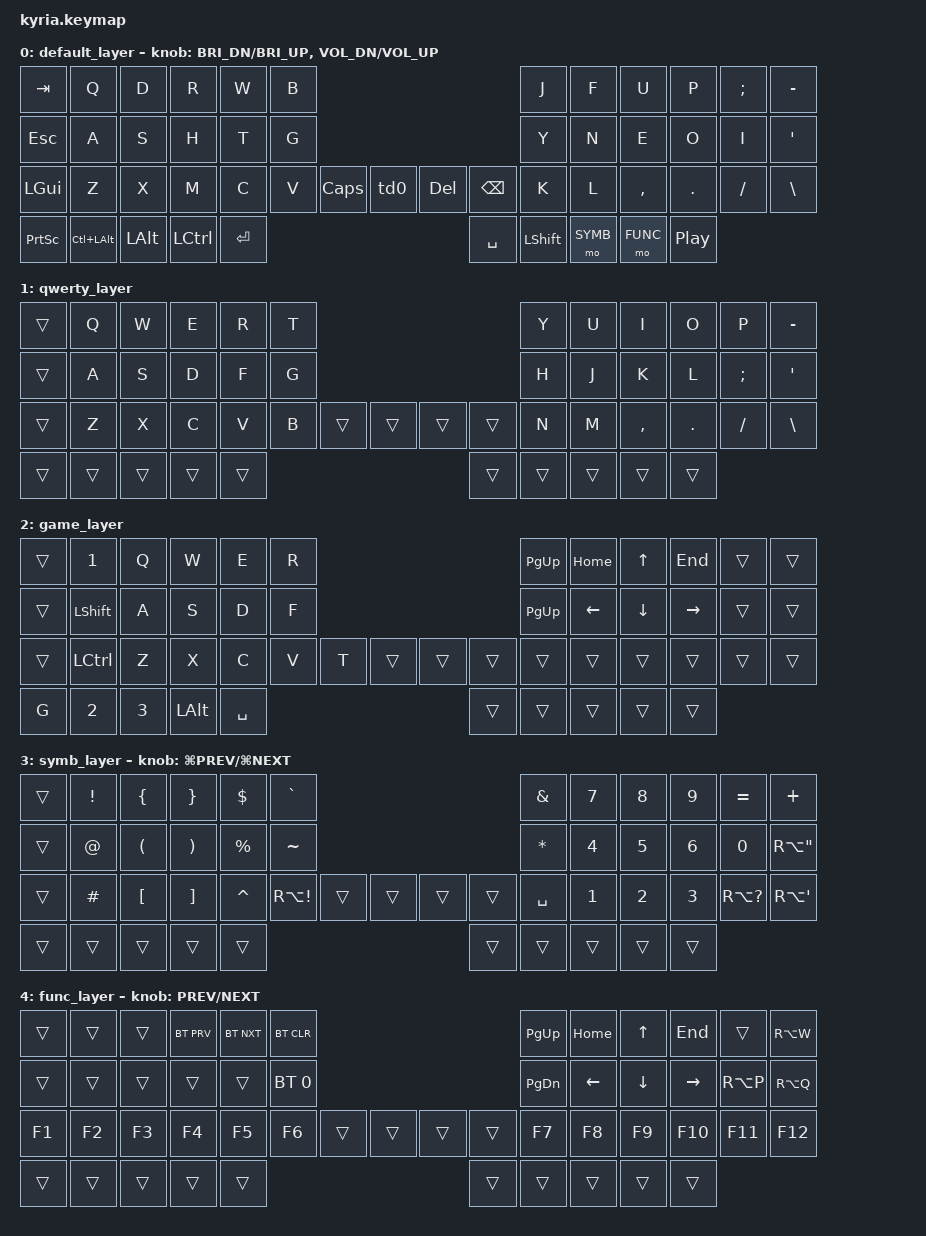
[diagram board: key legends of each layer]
/*
 * Copyright (c) 2020 The ZMK Contributors
 *
 * SPDX-License-Identifier: MIT
 */

#include <behaviors.dtsi>
#include <dt-bindings/zmk/keys.h>
#include <dt-bindings/zmk/bt.h>

#define WORKGIRL 0
#define QWERTY 1
#define GAME 2
#define SYMB 3
#define FUNC 4

&left_encoder { resolution = <2>; };
&right_encoder { resolution = <2>; };

/ {
    behaviors {
        td0: td0 {
            compatible = "zmk,behavior-tap-dance";
            label = "TAP_DANCE_0";
            #binding-cells = <0>;
            tapping-term-ms = <350>;
            bindings = <&to WORKGIRL>, <&to QWERTY>, <&to GAME>;
        };
    };

    keymap {
        compatible = "zmk,keymap";

        default_layer {
            bindings = <
&kp TAB  &kp Q &kp D &kp R &kp W &kp B                                       &kp J &kp F  &kp U     &kp P   &kp SEMI &kp MINUS
&kp ESC  &kp A &kp S &kp H &kp T &kp G                                       &kp Y &kp N  &kp E     &kp O   &kp I    &kp SQT
&kp LGUI &kp Z &kp X &kp M &kp C &kp V &kp CAPS &td0        &kp DEL &kp BSPC &kp K &kp L  &kp COMMA &kp DOT &kp FSLH &kp BSLH
   &kp PSCRN &kp LC(LALT) &kp LALT &kp LCTRL &kp RET        &kp SPACE &kp LSHFT &mo SYMB &mo FUNC &kp C_PLAY_PAUSE
            >;

            sensor-bindings = <&inc_dec_kp C_BRI_DN C_BRI_UP &inc_dec_kp C_VOL_DN C_VOL_UP>;
        };

        qwerty_layer {
            bindings = <
&trans &kp Q &kp W &kp E &kp R &kp T                                    &kp Y &kp U &kp I     &kp O   &kp P    &kp MINUS
&trans &kp A &kp S &kp D &kp F &kp G                                    &kp H &kp J &kp K     &kp L   &kp SEMI &kp SQT
&trans &kp Z &kp X &kp C &kp V &kp B &trans &trans        &trans &trans &kp N &kp M &kp COMMA &kp DOT &kp FSLH &kp BSLH
                &trans &trans &trans &trans &trans        &trans &trans &trans &trans &trans
            >;
        };

        game_layer {
            bindings = <
&trans &kp N1    &kp Q &kp W &kp E &kp R                                   &kp PG_UP &kp HOME &kp UP   &kp END   &trans &trans
&trans &kp LSHFT &kp A &kp S &kp D &kp F                                   &kp PG_UP &kp LEFT &kp DOWN &kp RIGHT &trans &trans
&trans &kp LCTRL &kp Z &kp X &kp C &kp V &kp T &trans        &trans &trans &trans &trans &trans &trans &trans &trans
               &kp G &kp N2 &kp N3 &kp LALT &kp SPACE        &trans &trans &trans &trans &trans
            >;
        };

        symb_layer {
            bindings = <
&trans &kp EXCL &kp LBRC &kp RBRC &kp DLLR  &kp GRAVE                                       &kp AMPS  &kp N7 &kp N8 &kp N9 &kp EQUAL     &kp PLUS
&trans &kp AT   &kp LPAR &kp RPAR &kp PRCNT &kp TILDE                                       &kp ASTRK &kp N4 &kp N5 &kp N6 &kp N0        &kp RA(DQT)
&trans &kp HASH &kp LBKT &kp RBKT &kp CARET &kp RA(EXCL) &trans &trans        &trans &trans &kp SPACE &kp N1 &kp N2 &kp N3 &kp RA(QMARK) &kp RA(SQT)
                                    &trans &trans &trans &trans &trans        &trans &trans &trans &trans &trans
            >;

            sensor-bindings = <&inc_dec_kp LG(C_PREV) LG(C_NEXT)>;
        };

        func_layer {
            bindings = <
&trans &trans &trans &bt BT_PRV &bt BT_NXT &bt BT_CLR                              &kp PG_UP &kp HOME &kp UP   &kp END   &trans    &kp RA(W)
&trans &trans &trans &trans     &trans     &bt BT_SEL 0                            &kp PG_DN &kp LEFT &kp DOWN &kp RIGHT &kp RA(P) &kp RA(Q)
&kp F1 &kp F2 &kp F3 &kp F4     &kp F5     &kp F6 &trans &trans      &trans &trans &kp F7    &kp F8   &kp F9   &kp F10   &kp F11   &kp F12
                             &trans &trans &trans &trans &trans      &trans &trans &trans &trans &trans
            >;

            sensor-bindings = <&inc_dec_kp C_PREV C_NEXT>;
        };
    };
};
